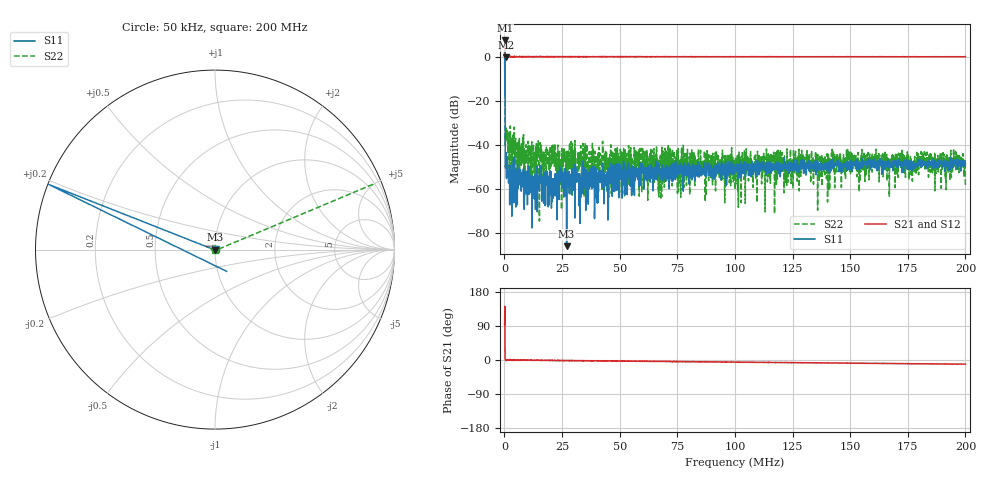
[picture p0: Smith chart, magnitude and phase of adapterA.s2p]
! 19-Feb-26 1:15:10 PM
! E:\VNA_MEASUREMENTS\RECBLOCK\ADAPTERA.S2P
! CHANNEL.1
! TR.MEASUREMENT
! CORRECTED.DATA
# GHZ S RI R 50.0
! FREQ.GHZ  S11RE  S11IM  S21RE  S21IM  S12RE  S12IM  S22RE  S22IM
!; PortSelection: Port_12
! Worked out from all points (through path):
!   2000 points, 50 kHz to 200 MHz, reference 50 ohm
!   highest |S21| = 7.33 dB at 250 kHz (marker M1); lowest = -0.3 dB at 750.2 kHz (marker M2)
!   lowest |S11| = -85.8 dB at 26.96 MHz (marker M3), VSWR 1.00, Z = 50 - j0.00163 ohm
!   |S11| at or under -10 dB: 116.6 kHz to 192.1 kHz (75.5 kHz wide, 48.9 % of centre); 270.1 kHz to end of sweep
!   |S22| runs from -74.5 to 4.7 dB; largest |S21 - S12| = 2.4
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5e-05  0.0188 1.676  -0.0883 1.784  -0.2325 0.2416  -1.435 -0.5725
0.00025005  -0.9287 0.3639  2.317 0.2095  0.2914 0.1041  0.8811 0.3643
0.000750175  -0.00451 0.00347  0.9635 0.01  1.008 -0.00114  -0.0232 0.00661
0.001350325  0.00302 -0.00184  1.027 0.0155  0.9966 -0.00977  0.0178 0.0095
0.002550625  0.0027 0.000719  1.025 0.0269  1.001 -0.00735  0.0214 0.0164
0.01415353  -0.000715 0.00323  1.002 -0.00102  0.998 -0.012  0.00937 0.00338
0.0208552  -0.000715 -4.04e-05  0.9917 -0.0116  1.003 -0.0205  0.0073 0.00672
0.02695673  -4.86e-05 -1.63e-05  0.9913 -0.0233  0.9997 -0.0293  0.00522 0.00491
0.03345835  -0.000168 0.00135  1.001 -0.0307  0.9984 -0.033  0.000577 -0.0007
0.03555888  0.000808 0.00149  0.9926 -0.0334  0.9993 -0.0355  0.00507 0.00222
0.03805951  0.00244 0.00221  0.9962 -0.0488  0.9976 -0.0387  -9.47e-05 0.00916
0.04046011  0.00176 0.00101  0.9915 -0.0414  0.999 -0.0403  0.00544 0.00319
0.06676668  0.00173 0.0023  0.9944 -0.0659  0.9991 -0.0672  0.000685 0.00051
0.07386846  0.00157 0.0019  0.9983 -0.0756  0.9954 -0.0732  0.00437 0.0017
0.07566891  0.00158 0.00213  0.992 -0.0763  0.9967 -0.0708  0.00112 -0.000795
0.07776943  0.00231 0.00189  0.9978 -0.0728  0.9964 -0.0766  0.00192 0.00454
0.100075  0.00219 0.0018  0.9949 -0.1007  0.9928 -0.0964  0.000779 0.000591
0.1333833  0.00306 0.00166  0.9894 -0.1306  0.9895 -0.1278  0.00298 0.0041
0.1613903  0.00274 0.00119  0.9829 -0.1503  0.9839 -0.1571  0.000671 0.00474
0.1666917  0.00263 0.0025  0.9849 -0.1584  0.9811 -0.1567  0.00302 0.00336
0.1982996  0.00381 0.00205  0.9791 -0.187  0.9791 -0.1902  0.00384 0.00187
0.2  0.00315 0.002  0.9828 -0.1892  0.9767 -0.1925  0.00119 -1.19e-05
